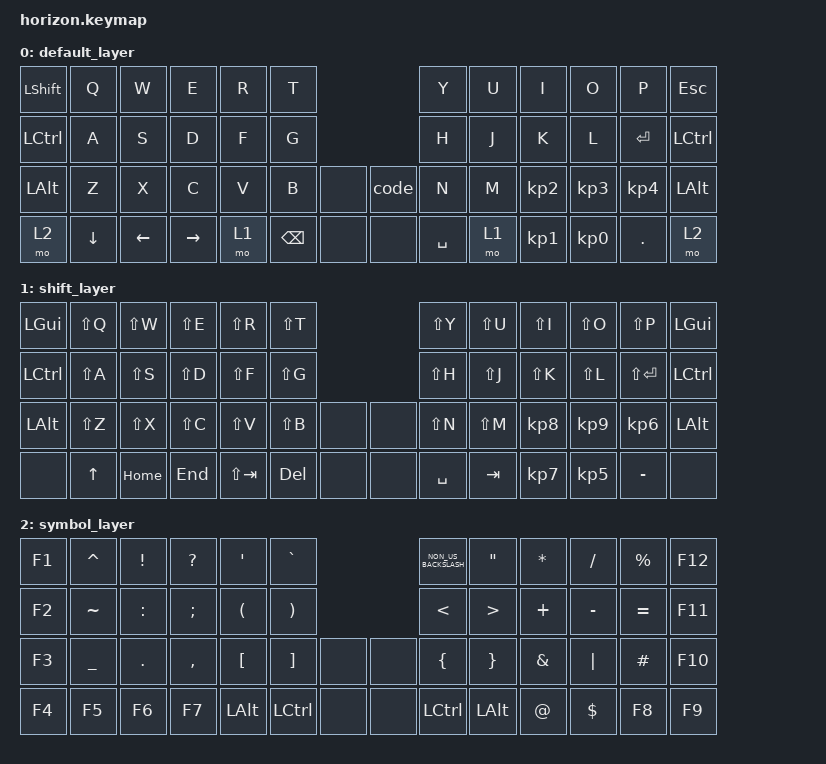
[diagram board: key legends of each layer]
/*
 * Copyright (c) 2021 The ZMK Contributors
 *
 * SPDX-License-Identifier: MIT
 */

#include <behaviors.dtsi>
#include <dt-bindings/zmk/keys.h>

#define DEF 0
#define SYM 1
#define FUN 2

&lt {
    tapping-term-ms = <180>;
    flavor = "tap-preferred";
};

/ {
    macros {
        code: code {
            compatible = "zmk,behavior-macro";
            #binding-cells = <0>;
            bindings = <&none &kp N2 &kp LS(H) &kp LS(E) &kp STAR &kp A &kp R &kp T &kp H>;
            label = "CODE";
        };
    };

    keymap {
        compatible = "zmk,keymap";

        default_layer {
            bindings = <
&kp LEFT_SHIFT  &kp Q           &kp W     &kp E      &kp R  &kp T                   &kp Y      &kp U  &kp I            &kp O            &kp P            &kp ESCAPE
&kp LCTRL       &kp A           &kp S     &kp D      &kp F  &kp G                   &kp H      &kp J  &kp K            &kp L            &kp ENTER        &kp LCTRL
&kp LEFT_ALT    &kp Z           &kp X     &kp C      &kp V  &kp B     &none  &code  &kp N      &kp M  &kp KP_NUMBER_2  &kp KP_NUMBER_3  &kp KP_NUMBER_4  &kp LALT
&mo 2           &kp DOWN_ARROW  &kp LEFT  &kp RIGHT  &mo 1  &kp BSPC  &none  &none  &kp SPACE  &mo 1  &kp KP_NUMBER_1  &kp KP_NUMBER_0  &kp PERIOD       &mo 2
            >;
        };

        shift_layer {
            bindings = <
&kp LEFT_GUI  &kp LS(Q)     &kp LS(W)  &kp LS(E)  &kp LS(R)    &kp LS(T)                &kp LS(Y)  &kp LS(U)  &kp LS(I)        &kp LS(O)        &kp LS(P)        &kp LEFT_GUI
&kp LCTRL     &kp LS(A)     &kp LS(S)  &kp LS(D)  &kp LS(F)    &kp LS(G)                &kp LS(H)  &kp LS(J)  &kp LS(K)        &kp LS(L)        &kp LS(ENTER)    &kp LCTRL
&kp LALT      &kp LS(Z)     &kp LS(X)  &kp LS(C)  &kp LS(V)    &kp LS(B)  &none  &none  &kp LS(N)  &kp LS(M)  &kp KP_NUMBER_8  &kp KP_NUMBER_9  &kp KP_NUMBER_6  &kp LALT
&none         &kp UP_ARROW  &kp HOME   &kp END    &kp LS(TAB)  &kp DEL    &none  &none  &kp SPACE  &kp TAB    &kp KP_N7        &kp KP_NUMBER_5  &kp MINUS        &none
            >;
        };

        symbol_layer {
            bindings = <
&kp F1  &kp CARET       &kp EXCLAMATION  &kp QUESTION   &kp SQT               &kp GRAVE                            &kp NON_US_BACKSLASH  &kp DOUBLE_QUOTES  &kp ASTERISK   &kp SLASH   &kp PERCENT  &kp F12
&kp F2  &kp TILDE       &kp COLON        &kp SEMICOLON  &kp LEFT_PARENTHESIS  &kp RIGHT_PARENTHESIS                &kp LESS_THAN         &kp GREATER_THAN   &kp PLUS       &kp MINUS   &kp EQUAL    &kp F11
&kp F3  &kp UNDERSCORE  &kp PERIOD       &kp COMMA      &kp LEFT_BRACKET      &kp RIGHT_BRACKET      &none  &none  &kp LEFT_BRACE        &kp RIGHT_BRACE    &kp AMPERSAND  &kp PIPE    &kp HASH     &kp F10
&kp F4  &kp F5          &kp F6           &kp F7         &kp LEFT_ALT          &kp LCTRL              &none  &none  &kp LCTRL             &kp LEFT_ALT       &kp AT_SIGN    &kp DOLLAR  &kp F8       &kp F9
            >;
        };
    };
};
